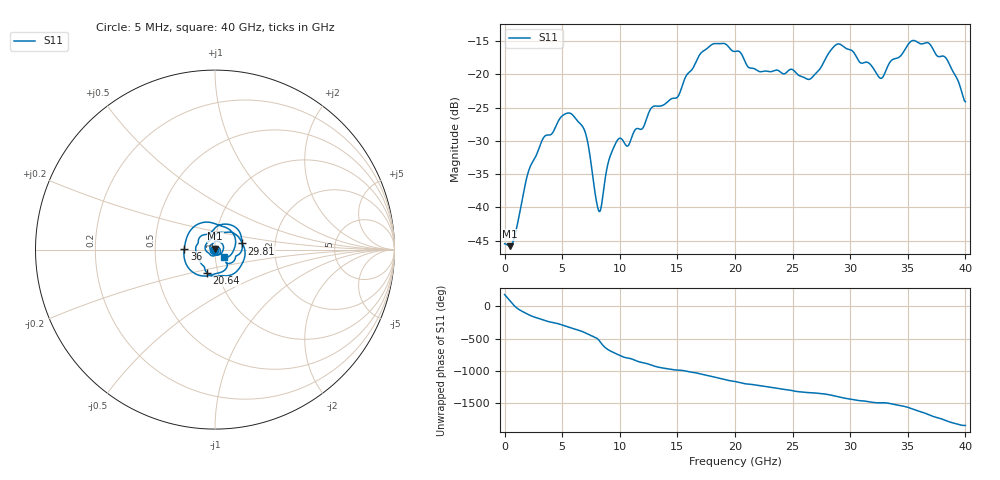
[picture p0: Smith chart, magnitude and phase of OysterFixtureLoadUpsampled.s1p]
# MHz MA S R 50.0
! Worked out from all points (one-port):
!   8000 points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, 5 MHz to 40 GHz, reference 50 ohm
!   lowest |S11| = -45.8 dB at 455 MHz (marker M1), VSWR 1.01, Z = 50 + j0.511 ohm
!   |S11| at or under -10 dB: start of sweep to end of sweep
!   S11 on the Smith chart (normalised r, x): 5 MHz: 0.99, +0.00; 20.64 GHz: 0.89, -0.24; 29.81 GHz: 1.35, +0.10; 36 GHz: 0.71, +0.01; 40 GHz: 1.10, -0.09
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5  0.005336 179.0
455  0.005113 86.4
900  0.006172 -2.6
2220  0.02019 -142.5
5005  0.04879 69.6
6925  0.03829 -44.7
8210  0.009334 -169.4
9095  0.02325 37.8
10005  0.03313 -39.2
10710  0.02903 -80.5
12800  0.05661 167.7
15005  0.06745 94.6
17215  0.1492 26.7
18355  0.1706 -19.7
20005  0.149 -81.7
20640  0.1386 -108.6
22120  0.1051 -143.6
25005  0.1086 135.8
26490  0.09205 106.5
28700  0.1654 54.3
29810  0.1549 12.9
30005  0.1534 6.6
32670  0.0934 -49.4
35005  0.1669 -120.1
36000  0.1713 178.6
37160  0.1565 102.8
38440  0.1277 27.1
40000  0.06233 -38.3
